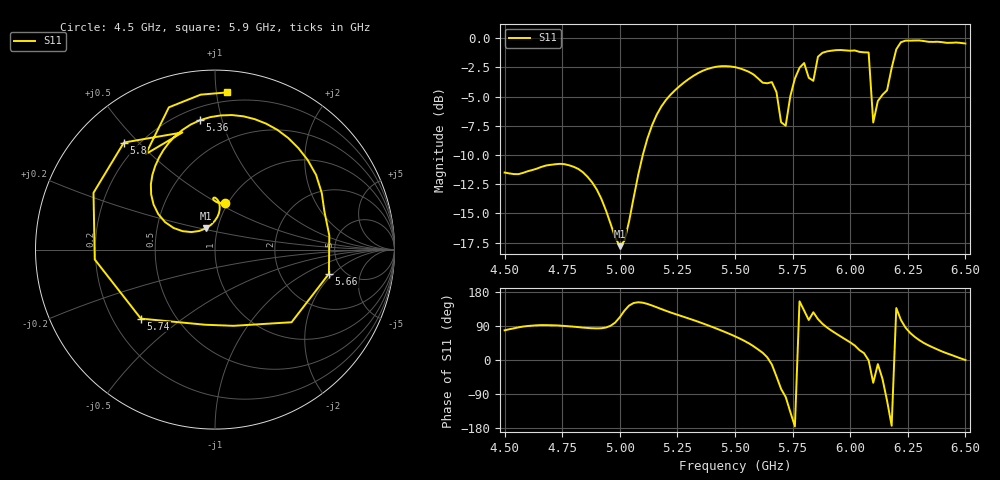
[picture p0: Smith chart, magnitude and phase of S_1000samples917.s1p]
! TOUCHSTONE file generated by CST MICROWAVE STUDIO
! Date and time: Sat Oct 29 19:20:16 2022
! Project name: L.cst
! Parameters = {Di=1.27; Epsilon_r=1.56; InnerDiameter=1.27; Length=2; Lf=10; Lg=60; OuterConductorThickness=0.2921; OuterDiameter=3.6; Wf=3; Wp=41.2; de=1.5; df=6.8; g=0.8; gx=1.50373; gy=1.42148; h=2.34; hf=1.524; px=14.1421; py=13.9676; w=9.7; wx=12.6383; wy=12.5461}
! Header version: 2018
! Port assignment regex: !\s*Touchstone port\s*([0-9]+)\s*=\s*(CST MWS port|CST DS port)\s*([0-9]+|Zmin|Zmax)\s*\(\"(.*)\"\)(\s*mode\s*([0-9]+))?.*
! Touchstone port assignment:
! Touchstone port 1 = CST MWS port 1 ("")
# GHz S DB R 50
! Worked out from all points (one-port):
!   101 points, 4.5 GHz to 6.5 GHz, reference 50 ohm
!   lowest |S11| = -17.8 dB at 5 GHz (marker M1), VSWR 1.30, Z = 44 + j10.6 ohm
!   |S11| at or under -10 dB: start of sweep to 5.1 GHz
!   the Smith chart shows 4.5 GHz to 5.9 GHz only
!   S11 on the Smith chart (normalised r, x): 4.5 GHz: 0.97, +0.54; 5.36 GHz: 0.28, +0.85; 5.66 GHz: 3.82, -1.78; 5.74 GHz: 0.32, -0.36; 5.8 GHz: 0.15, +0.45; 5.9 GHz: 0.14, +1.07
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4.5  -11.50 78.3
4.76  -10.78 89.8
5  -17.80 112.9
5.14  -7.45 143.8
5.26  -4.09 117.4
5.36  -2.78 96.6
5.5  -2.47 62.5
5.58  -3.10 36.5
5.66  -3.76 -12.0
5.68  -4.61 -43.5
5.74  -4.97 -137.0
5.76  -3.45 -175.3
5.8  -2.12 130.4
5.82  -3.38 105.6
5.84  -3.65 126.0
5.9  -1.12 85.5
6  -1.07 46.6
6.08  -1.22 -1.1
6.1  -7.22 -60.2
6.12  -5.37 -10.9
6.14  -4.84 -49.7
6.16  -4.46 -107.5
6.18  -2.55 -173.5
6.2  -0.95 137.2
6.22  -0.34 105.8
6.26  -0.20 71.6
6.36  -0.31 32.9
6.5  -0.45 0.1
